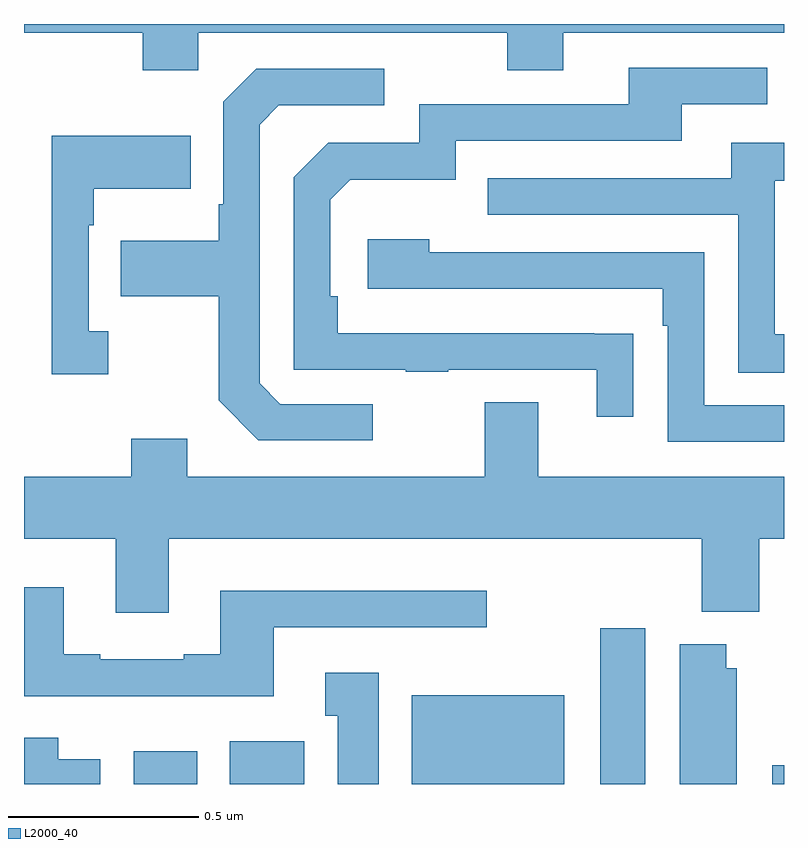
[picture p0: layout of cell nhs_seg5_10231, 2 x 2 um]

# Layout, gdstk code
import gdstk
lib = gdstk.Library(unit=1e-6, precision=1e-09)
def R(c, l, rs):  # rectangles x0, y0, x1, y1
    for r in rs: c.add(gdstk.rectangle(r[:2], r[2:], *l))
def P(c, l, *ps):  # polygons
    for p in ps: c.add(gdstk.Polygon(p, *l))
L2000_40 = (2000, 40)

nhs_seg5_10231 = lib.new_cell('nhs_seg5_10231')
R(nhs_seg5_10231, L2000_40, [(244.289,838.799,244.456,838.885), (244.541,838.799,244.738,838.912), (245.021,838.799,245.422,839.032), (245.516,838.799,245.635,839.209), (245.969,838.799,246,838.849)])
P(nhs_seg5_10231, L2000_40, [(244.458,840.776),(245.272,840.776),(245.272,840.677),(245.419,840.677),(245.419,840.776),(246,840.776),(246,840.799),(244,840.799),(244,840.776),(244.312,840.776),(244.312,840.677),(244.458,840.677)],
  [(245.603,839.984),(245.501,839.984),(245.501,839.985),(244.826,839.985),(244.826,840.082),(244.806,840.082),(244.806,840.336),(244.859,840.389),(245.136,840.389),(245.136,840.492),(245.731,840.492),(245.731,840.588),(245.956,840.588),(245.956,840.684),(245.591,840.684),(245.591,840.588),(245.04,840.588),(245.04,840.486),(244.8,840.486),(244.71,840.396),(244.71,839.889),(245.005,839.889),(245.005,839.884),(245.117,839.884),(245.117,839.889),(245.507,839.889),(245.507,839.766),(245.603,839.766)],
  [(244.918,839.799),(244.674,839.799),(244.62,839.853),(244.62,840.534),(244.671,840.585),(244.948,840.585),(244.948,840.681),(244.611,840.681),(244.524,840.594),(244.524,840.325),(244.512,840.325),(244.512,840.229),(244.255,840.229),(244.255,840.082),(244.512,840.082),(244.512,839.809),(244.617,839.703),(244.918,839.703)],
  [(244.222,839.99),(244.17,839.99),(244.17,840.269),(244.183,840.269),(244.183,840.365),(244.439,840.365),(244.439,840.505),(244.073,840.505),(244.073,839.877),(244.222,839.877)],
  [(246,839.982),(245.976,839.982),(245.976,840.387),(246,840.387),(246,840.487),(245.861,840.487),(245.861,840.393),(245.221,840.393),(245.221,840.297),(245.88,840.297),(245.88,839.881),(246,839.881)],
  [(246,839.796),(245.79,839.796),(245.79,840.198),(245.066,840.198),(245.066,840.232),(244.905,840.232),(244.905,840.102),(245.681,840.102),(245.681,840.005),(245.694,840.005),(245.694,839.7),(246,839.7)],
  [(244.381,839.444),(245.783,839.444),(245.783,839.252),(245.935,839.252),(245.935,839.444),(246,839.444),(246,839.608),(245.353,839.608),(245.353,839.803),(245.213,839.803),(245.213,839.608),(244.429,839.608),(244.429,839.707),(244.282,839.707),(244.282,839.608),(244,839.608),(244,839.444),(244.241,839.444),(244.241,839.25),(244.381,839.25)],
  [(244.657,839.211),(245.218,839.211),(245.218,839.308),(244.517,839.308),(244.517,839.14),(244.421,839.14),(244.421,839.127),(244.201,839.127),(244.201,839.14),(244.105,839.14),(244.105,839.317),(244,839.317),(244,839.03),(244.657,839.03)],
  [(245.875,839.103),(245.848,839.103),(245.848,839.167),(245.726,839.167),(245.726,838.799),(245.875,838.799)],
  [(244.933,839.092),(244.793,839.092),(244.793,838.979),(244.826,838.979),(244.826,838.799),(244.933,838.799)],
  [(244.201,838.864),(244.09,838.864),(244.09,838.921),(244,838.921),(244,838.799),(244.201,838.799)])

lib.write_gds('nhs_seg5_10231.gds')
